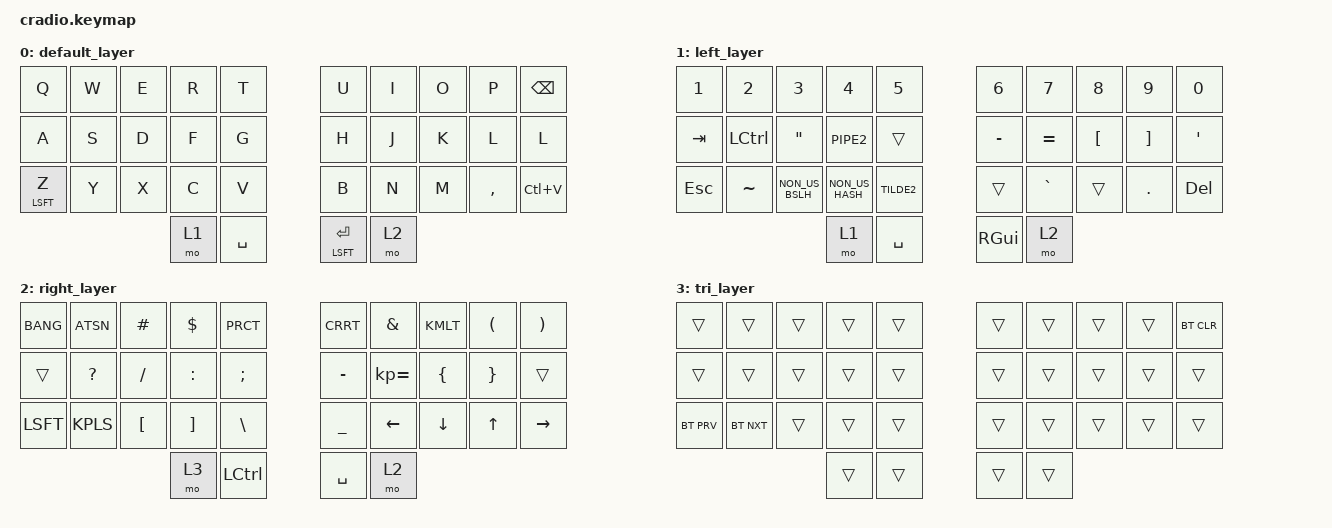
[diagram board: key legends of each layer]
/*
 * Copyright (c) 2020 The ZMK Contributors
 *
 * SPDX-License-Identifier: MIT
 */

#include <behaviors.dtsi>
#include <dt-bindings/zmk/keys.h>
#include <dt-bindings/zmk/bt.h>


&mt {
  //  flavor = "tap-preferred";
   // tapping_term_ms = <200>;
};

/ { 

    combos {
        compatible = "zmk,combos";
        combo_esc {
            timeout-ms = <50>;
            key-positions = <0 1>;
            bindings = <&kp ESC>;
        };

    };

          keymap {
                compatible = "zmk,keymap";
                
       		default_layer {
		bindings = <
		&kp Q      &kp W    &kp E  &kp R  &kp T 	                        &kp U   &kp I    &kp O    &kp P     &kp BKSP
		&kp A      &kp S    &kp D  &kp F  &kp G 			        &kp H   &kp J   &kp K    &kp L      &kp L
		&mt LSFT Z &kp Y    &kp X  &kp C  &kp V                                 &kp B   &kp N   &kp M    &kp CMMA   &kp LC(V)
          				 &mo 1 &kp SPC  				&mt LSFT RET &mo 2 
		>;
		};

       	  		left_layer {
		bindings = <
		&kp NUM_1  &kp NUM_2    &kp NUM_3    &kp NUM_4    &kp NUM_5		&kp NUM_6   &kp NUM_7  &kp NUM_8 &kp NUM_9   &kp NUM_0 
		&kp TAB    &kp LCTL       &kp DQT      &kp PIPE2     &trans 		&kp MINUS   &kp EQL    &kp LBKT  &kp RBKT    &kp QUOT 
		&kp ESC    &kp TILDE 	&kp NON_US_BSLH &kp NON_US_HASH  &kp TILDE2 	&trans      &kp GRAVE  &trans    &kp DOT      &kp DEL 
					    &mo 1  &kp SPC  				&kp RGUI &mo 2 
		>;
		};

			right_layer {
		bindings = <
		&kp BANG  &kp ATSN &kp HASH  &kp DLLR  &kp PRCT    			&kp CRRT  &kp AMPS &kp KMLT &kp LPRN &kp RPRN 
		&trans  &kp QMARK  &kp FSLH  &kp COLN  &kp SCLN 			&kp MINUS &kp KP_EQUAL  &kp LBRC  &kp RBRC   &trans
		&kp LSFT  &kp KPLS &kp LBKT &kp RBKT   &kp BSLH    			&kp UNDER &kp LEFT &kp DOWN &kp UP  &kp RIGHT
					  &mo 3 &kp LCTL  				&kp SPC  &mo 2 
		>;
		};	

			tri_layer {
		bindings = <
		&trans &trans &trans &trans &trans 	         	        	&trans &trans  &trans   &trans  &bt BT_CLR
		&trans &trans &trans &trans &trans  					&trans &trans  &trans   &trans &trans 
		&bt BT_PRV &bt BT_NXT &trans &trans &trans  			        &trans &trans  &trans   &trans &trans   
					 &trans &trans  				&trans &trans 
		>;
		};	
        
	};
};

